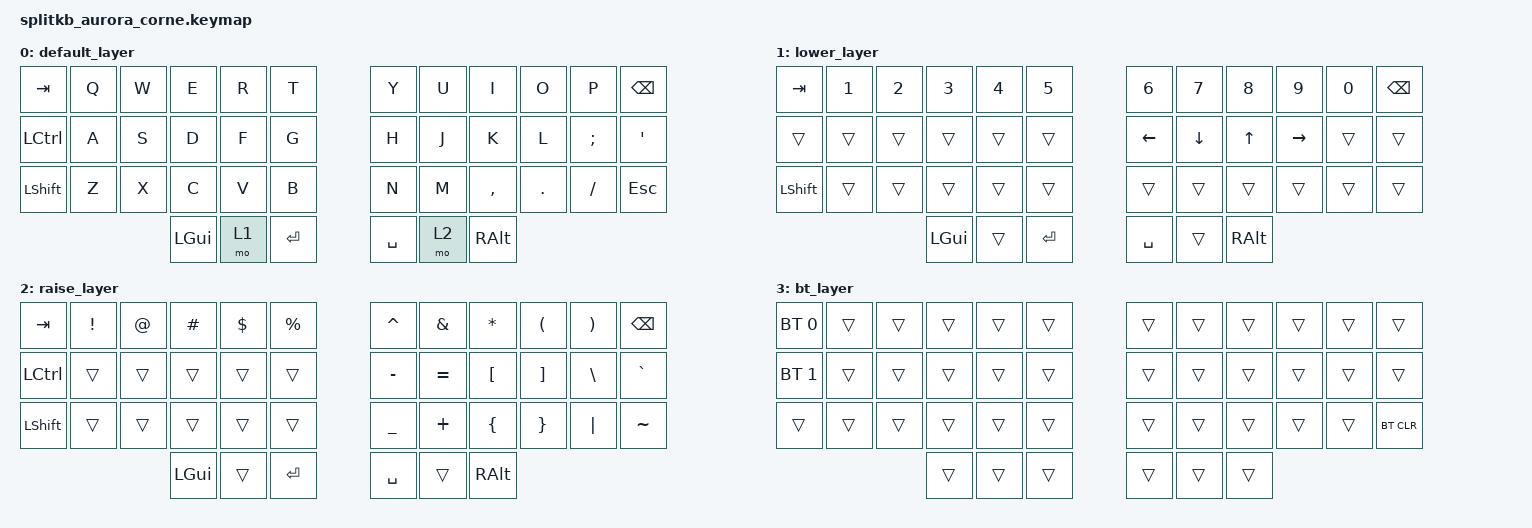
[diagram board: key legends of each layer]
/*
 * Copyright (c) 2020 The ZMK Contributors
 *
 * SPDX-License-Identifier: MIT
 */

#include <behaviors.dtsi>
#include <dt-bindings/zmk/keys.h>
#include <dt-bindings/zmk/bt.h>

/ {
    conditional_layers {
        compatible = "zmk,conditional-layers";
        tri_layer {
            if-layers = <1 2>;
            then-layer = <3>;
        };
    };
};
/ {
        keymap {
                compatible = "zmk,keymap";

                default_layer {
// -----------------------------------------------------------------------------------------
// |  TAB |  Q  |  W  |  E  |  R  |  T  |   |  Y  |  U   |  I  |  O  |  P  | BKSP |
// | CTRL |  A  |  S  |  D  |  F  |  G  |   |  H  |  J   |  K  |  L  |  ;  |  '   |
// | SHFT |  Z  |  X  |  C  |  V  |  B  |   |  N  |  M   |  ,  |  .  |  /  | ESC  |
//                    | GUI | LWR | ENT |   | SPC | RSE  | ALT |
                        bindings = <
   &kp TAB   &kp Q &kp W &kp E &kp R &kp T   &kp Y &kp U  &kp I     &kp O   &kp P    &kp BSPC
   &kp LCTRL &kp A &kp S &kp D &kp F &kp G   &kp H &kp J  &kp K     &kp L   &kp SEMI &kp SQT
   &kp LSHFT &kp Z &kp X &kp C &kp V &kp B   &kp N &kp M  &kp COMMA &kp DOT &kp FSLH &kp ESC
                    &kp LGUI &mo 1 &kp RET   &kp SPACE &mo 2 &kp RALT
                        >;
                };
                lower_layer {
// -----------------------------------------------------------------------------------------
// |  TAB |  1  |  2  |  3  |  4  |  5  |   |  6  |  7  |  8  |  9  |  0  | BKSP |
// |      |     |     |     |     |     |   | LFT | DWN |  UP | RGT |     |      |
// | SHFT |     |     |     |     |     |   |     |     |     |     |     |      |
//                    | GUI |     | ENT |   | SPC |     | ALT |
                        bindings = <
   &kp TAB    &kp N1       &kp N2       &kp N3       &kp N4       &kp N5         &kp N6     &kp N7   &kp N8 &kp N9    &kp N0 &kp BSPC
   &trans     &trans       &trans       &trans       &trans       &trans         &kp LEFT   &kp DOWN &kp UP &kp RIGHT &trans &trans
   &kp LSHFT  &trans       &trans       &trans       &trans       &trans         &trans     &trans   &trans &trans    &trans &trans
                          	        &kp LGUI     &trans       &kp RET        &kp SPACE  &trans   &kp RALT
                        >;
                };

                raise_layer {
// -----------------------------------------------------------------------------------------
// |  TAB |  !  |  @  |  #  |  $  |  %  |   |  ^  |  &  |  *  |  (  |  )  | BKSP |
// | CTRL |     |     |     |     |     |   |  -  |  =  |  [  |  ]  |  \  |  `   |
// | SHFT |     |     |     |     |     |   |  _  |  +  |  {  |  }  | "|" |  ~   |
//                    | GUI |     | ENT |   | SPC |     | ALT |
                        bindings = <
   &kp  TAB  &kp EXCL &kp AT &kp HASH &kp DLLR &kp PRCNT   &kp CARET &kp AMPS  &kp STAR &kp LPAR &kp RPAR &kp BSPC
   &kp LCTRL &trans   &trans &trans   &trans   &trans      &kp MINUS &kp EQUAL &kp LBKT        &kp RBKT &kp BSLH &kp GRAVE
   &kp LSHFT &trans   &trans &trans   &trans   &trans      &kp UNDER &kp PLUS  &kp LBRC        &kp RBRC &kp PIPE &kp TILDE
                    	     &kp LGUI &trans   &kp RET   &kp SPACE   &trans    &kp RALT
                        >;
                };
                
                bt_layer {
// -----------------------------------------------------------------------------------------
// |  BT0 |     |     |     |     |     |   |     |     |     |     |     |     |
// |  BT1 |     |     |     |     |     |   |     |     |     |     |     |     |
// |      |     |     |     |     |     |   |     |     |     |     |     | BTC |
//                    |     |     |     |   |     |     |     |
                        bindings = <
   &bt BT_SEL 0  &trans  &trans  &trans  &trans  &trans    &trans  &trans  &trans  &trans  &trans  &trans
   &bt BT_SEL 1  &trans  &trans  &trans  &trans  &trans    &trans  &trans  &trans  &trans  &trans  &trans
   &trans        &trans  &trans  &trans  &trans  &trans    &trans  &trans  &trans  &trans  &trans  &bt BT_CLR
                    	         &trans  &trans  &trans    &trans  &trans  &trans
                        >;
                };
        };
};
